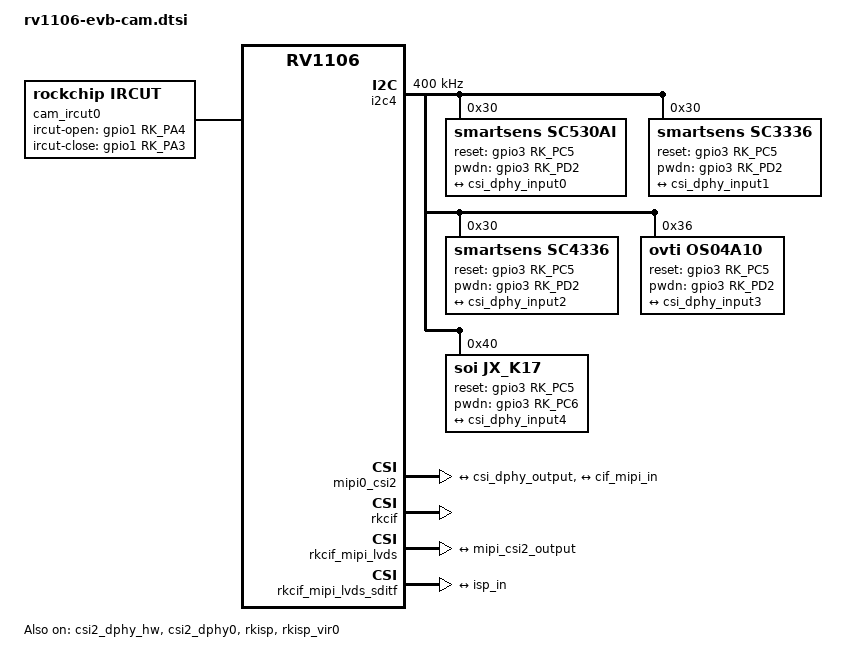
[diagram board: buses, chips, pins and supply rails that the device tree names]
// SPDX-License-Identifier: (GPL-2.0+ OR MIT)
/*
 * Copyright (c) 2022 Rockchip Electronics Co., Ltd.
 *
 */
/ {
	cam_ircut0: cam_ircut {
		status = "okay";
		compatible = "rockchip,ircut";
		ircut-open-gpios = <&gpio1 RK_PA4 GPIO_ACTIVE_HIGH>;
		ircut-close-gpios  = <&gpio1 RK_PA3 GPIO_ACTIVE_HIGH>;
		rockchip,camera-module-index = <0>;
		rockchip,camera-module-facing = "back";
	};
};

&csi2_dphy_hw {
	status = "okay";
};

&csi2_dphy0 {
	status = "okay";

	ports {
		#address-cells = <1>;
		#size-cells = <0>;

		port@0 {
			reg = <0>;
			#address-cells = <1>;
			#size-cells = <0>;

			csi_dphy_input0: endpoint@0 {
				reg = <0>;
				remote-endpoint = <&sc530ai_out>;
				data-lanes = <1 2 3 4>;
			};
			csi_dphy_input1: endpoint@1 {
				reg = <1>;
				remote-endpoint = <&sc3336_out>;
				data-lanes = <1 2>;
			};
			csi_dphy_input2: endpoint@2 {
				reg = <2>;
				remote-endpoint = <&sc4336_out>;
				data-lanes = <1 2>;
			};
			csi_dphy_input3: endpoint@3 {
				reg = <3>;
				remote-endpoint = <&os04a10_out>;
				data-lanes = <1 2>;
			};
			csi_dphy_input4: endpoint@4 {
				reg = <4>;
				remote-endpoint = <&jx_k17_out>;
				data-lanes = <1 2>;
			};
		};

		port@1 {
			reg = <1>;
			#address-cells = <1>;
			#size-cells = <0>;

			csi_dphy_output: endpoint@0 {
				reg = <0>;
				remote-endpoint = <&mipi_csi2_input>;
			};
		};
	};
};

&i2c4 {
	status = "okay";
	clock-frequency = <400000>;
	pinctrl-names = "default";
	pinctrl-0 = <&i2c4m2_xfer>;

	sc530ai: sc530ai@30 {
		compatible = "smartsens,sc530ai";
		status = "okay";
		reg = <0x30>;
		clocks = <&cru MCLK_REF_MIPI0>;
		clock-names = "xvclk";
		reset-gpios = <&gpio3 RK_PC5 GPIO_ACTIVE_HIGH>;
		pwdn-gpios = <&gpio3 RK_PD2 GPIO_ACTIVE_HIGH>;
		pinctrl-names = "default";
		pinctrl-0 = <&mipi_refclk_out0>;
		rockchip,camera-module-index = <0>;
		rockchip,camera-module-facing = "back";
		rockchip,camera-module-name = "CMK-OT2115-PC1";
		rockchip,camera-module-lens-name = "30IRC-F16";
		lens-focus = <&cam_ircut0>;
		port {
			sc530ai_out: endpoint {
				remote-endpoint = <&csi_dphy_input0>;
				data-lanes = <1 2 3 4>;
			};
		};
	};

	sc3336: sc3336@30 {
		compatible = "smartsens,sc3336";
		status = "okay";
		reg = <0x30>;
		clocks = <&cru MCLK_REF_MIPI0>;
		clock-names = "xvclk";
		reset-gpios = <&gpio3 RK_PC5 GPIO_ACTIVE_HIGH>;
		pwdn-gpios = <&gpio3 RK_PD2 GPIO_ACTIVE_HIGH>;
		pinctrl-names = "default";
		pinctrl-0 = <&mipi_refclk_out0>;
		rockchip,camera-module-index = <0>;
		rockchip,camera-module-facing = "back";
		rockchip,camera-module-name = "CMK-OT2119-PC1";
		rockchip,camera-module-lens-name = "30IRC-F16";
		lens-focus = <&cam_ircut0>;
		port {
			sc3336_out: endpoint {
				remote-endpoint = <&csi_dphy_input1>;
				data-lanes = <1 2>;
			};
		};
	};

	sc4336: sc4336@30 {
		compatible = "smartsens,sc4336";
		status = "okay";
		reg = <0x30>;
		clocks = <&cru MCLK_REF_MIPI0>;
		clock-names = "xvclk";
		reset-gpios = <&gpio3 RK_PC5 GPIO_ACTIVE_HIGH>;
		pwdn-gpios = <&gpio3 RK_PD2 GPIO_ACTIVE_HIGH>;
		pinctrl-names = "default";
		pinctrl-0 = <&mipi_refclk_out0>;
		rockchip,camera-module-index = <0>;
		rockchip,camera-module-facing = "back";
		rockchip,camera-module-name = "OT01";
		rockchip,camera-module-lens-name = "40IRC_F16";
		lens-focus = <&cam_ircut0>;
		port {
			sc4336_out: endpoint {
				remote-endpoint = <&csi_dphy_input2>;
				data-lanes = <1 2>;
			};
		};
	};

	os04a10: os04a10@36 {
		compatible = "ovti,os04a10";
		status = "okay";
		reg = <0x36>;
		clocks = <&cru MCLK_REF_MIPI0>;
		clock-names = "xvclk";
		reset-gpios = <&gpio3 RK_PC5 GPIO_ACTIVE_HIGH>;
		pwdn-gpios = <&gpio3 RK_PD2 GPIO_ACTIVE_HIGH>;
		pinctrl-names = "default";
		pinctrl-0 = <&mipi_refclk_out0>;
		rockchip,camera-module-index = <0>;
		rockchip,camera-module-facing = "back";
		rockchip,camera-module-name = "408b170b9d8a";
		rockchip,camera-module-lens-name = "40IRC-F10";
		port {
			os04a10_out: endpoint {
				remote-endpoint = <&csi_dphy_input3>;
				data-lanes = <1 2>;
			};
		};
	};

	jx_k17: jx_k17@40 {
		compatible = "soi,jx_k17";
		status = "okay";
		reg = <0x40>;
		clocks = <&cru MCLK_REF_MIPI0>;
		clock-names = "xvclk";
		reset-gpios = <&gpio3 RK_PC5 GPIO_ACTIVE_HIGH>;
		pwdn-gpios = <&gpio3 RK_PC6 GPIO_ACTIVE_HIGH>;
		pinctrl-names = "default";
		pinctrl-0 = <&mipi_refclk_out0>;
		rockchip,camera-module-index = <0>;
		rockchip,camera-module-facing = "back";
		rockchip,camera-module-name = "T3801-A";
		rockchip,camera-module-lens-name = "22IRC-5M-F18";
		port {
			jx_k17_out: endpoint {
				remote-endpoint = <&csi_dphy_input4>;
				data-lanes = <1 2>;
			};
		};
	};
};

&mipi0_csi2 {
	status = "okay";

	ports {
		#address-cells = <1>;
		#size-cells = <0>;

		port@0 {
			reg = <0>;
			#address-cells = <1>;
			#size-cells = <0>;

			mipi_csi2_input: endpoint@1 {
				reg = <1>;
				remote-endpoint = <&csi_dphy_output>;
			};
		};

		port@1 {
			reg = <1>;
			#address-cells = <1>;
			#size-cells = <0>;

			mipi_csi2_output: endpoint@0 {
				reg = <0>;
				remote-endpoint = <&cif_mipi_in>;
			};
		};
	};
};

&rkcif {
	status = "okay";
};

&rkcif_mipi_lvds {
	status = "okay";

	pinctrl-names = "default";
	pinctrl-0 = <&mipi_pins>;
	port {
		/* MIPI CSI-2 endpoint */
		cif_mipi_in: endpoint {
			remote-endpoint = <&mipi_csi2_output>;
		};
	};
};

&rkcif_mipi_lvds_sditf {
	status = "okay";

	port {
		/* MIPI CSI-2 endpoint */
		mipi_lvds_sditf: endpoint {
			remote-endpoint = <&isp_in>;
		};
	};
};

&rkisp {
	status = "okay";
};

&rkisp_vir0 {
	status = "okay";

	port@0 {
		isp_in: endpoint {
			remote-endpoint = <&mipi_lvds_sditf>;
		};
	};
};

